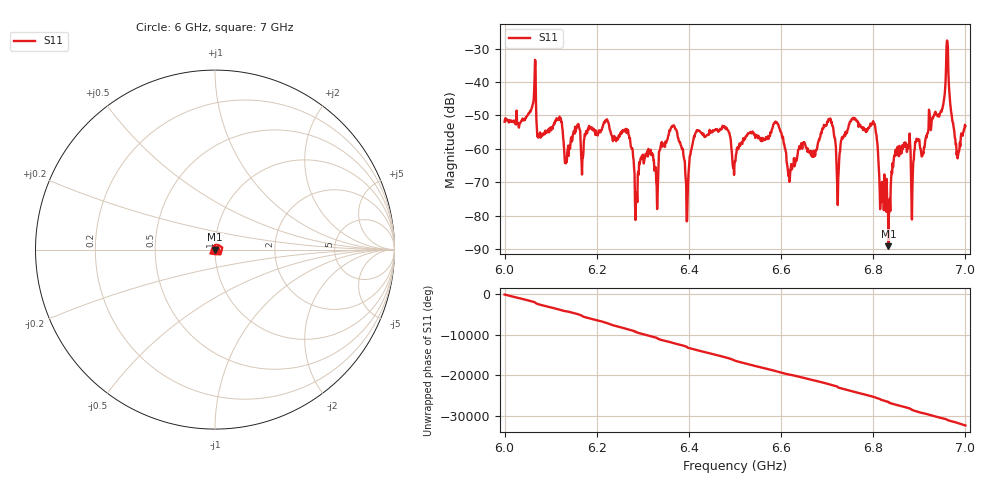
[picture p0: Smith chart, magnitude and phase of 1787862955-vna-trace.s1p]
! Created with skrf 1.10.0 (http://scikit-rf.org).
# Hz S RI R 50.0
!freq ReS11 ImS11
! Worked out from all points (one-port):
!   1001 points, 6 GHz to 7 GHz, reference 50 ohm
!   lowest |S11| = -89.1 dB at 6.833 GHz (marker M1), VSWR 1.00, Z = 50 + j0.00219 ohm
!   |S11| at or under -10 dB: start of sweep to end of sweep
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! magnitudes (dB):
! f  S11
! 6 GHz  -51.9
! 6.063 GHz  -45.4
! 6.075 GHz  -56.3
! 6.125 GHz  -53.5
! 6.134 GHz  -63.3
! 6.158 GHz  -52.8
! 6.25 GHz  -56.2
! 6.268 GHz  -54.4
! 6.286 GHz  -73.3
! 6.375 GHz  -55.6
! 6.395 GHz  -81.6
! 6.419 GHz  -54.5
! 6.48 GHz  -53.5
! 6.5 GHz  -63.6
! 6.589 GHz  -52.0
! 6.625 GHz  -65.0
! 6.705 GHz  -51.1
! 6.724 GHz  -69.0
! 6.75 GHz  -52.0
! 6.802 GHz  -52.6
! 6.818 GHz  -71.1
! 6.833 GHz  -89.1
! 6.849 GHz  -61.3
! 6.875 GHz  -60.0
! 6.908 GHz  -61.0
! 6.96 GHz  -27.6
! 6.982 GHz  -60.8
! 7 GHz  -53.2
